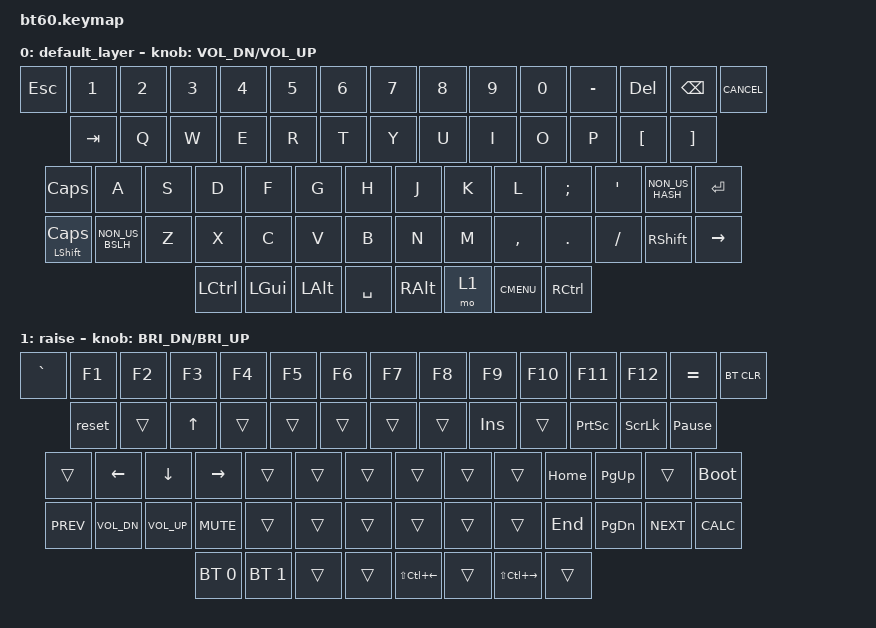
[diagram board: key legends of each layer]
#include <behaviors.dtsi>
#include <dt-bindings/zmk/keys.h>
#include <dt-bindings/zmk/bt.h>

/ {
	behaviors {
		hm: homerow_mods {
			compatible = "zmk,behavior-hold-tap";
			label = "HOMEROW_MODS";
			#binding-cells = <2>;
			tapping-term-ms = <150>;
			quick_tap_ms = <0>;
			flavor = "tap-preferred";
			bindings = <&kp>, <&kp>;
		};
	};
	
	keymap {
		compatible = "zmk,keymap";

		default_layer {
				// ------------------------------------------------------------------------------------------
				// | ESC |  1  |  2  |  3  |  4  |  5  |  6  |  7  |  8  |  9  |  0  |  -  |  =  |   BKSP   |
				// | TAB  |  Q  |  W  |  E  |  R  |  T  |  Y  |  U  |  I  |  O  |  P  |  [  |  ]  |         |
				// | CAPS  |  A  |  S  |  D  |  F  |  G  |  H  |  J  |  K  |  L  |  ;  |  '  |  #   | ENTER |
				// |  SHIFT | |  |  Z  |  X  |  C  |  V  |  B  |  N  |  M  |  ,  |  .  | /   |     SHIFT    |
				// |  CTL  |  WIN  |  ALT  |                     SPACE        |   ALT   |  1  | MENU | CTRL |
				// ------------------------------------------------------------------------------------------
			bindings = <
				&kp ESC &kp N1 &kp N2 &kp N3 &kp N4 &kp N5 &kp N6 &kp N7 &kp  N8   &kp  N9 &kp  N0  &kp MINUS &kp DEL &kp BSPC &kp K_CANCEL
				&kp TAB  &kp Q  &kp W  &kp E  &kp R  &kp T  &kp Y  &kp U  &kp  I    &kp  O  &kp  P   &kp LBKT &kp RBKT
				&kp CLCK  &kp A  &kp S  &kp D  &kp F  &kp G  &kp H  &kp J  &kp  K    &kp  L  &kp SEMI &kp SQT  &kp NON_US_HASH  &kp RET
				&hm LSHIFT CAPSLOCK &kp NON_US_BSLH &kp Z  &kp X  &kp C  &kp V  &kp B  &kp N  &kp M  &kp COMMA &kp DOT &kp FSLH       &kp RSHFT &kp RIGHT
				&kp LCTRL &kp LGUI &kp LALT            &kp SPACE                          &kp RALT  &mo 1 &kp K_CMENU &kp RCTRL
			>;
			sensor-bindings = <&inc_dec_kp C_VOL_DN C_VOL_UP>;
		};
		raise {
			bindings = <
				&kp GRAVE &kp F1 &kp F2 &kp F3 &kp F4 &kp F5 &kp F6 &kp F7 &kp  F8   &kp  F9 &kp  F10  &kp F11 &kp F12 &kp EQUAL &bt BT_CLR
				&reset &trans &kp UP &trans &trans &trans &trans &trans &kp INS &trans &kp PSCRN &kp SLCK &kp PAUSE_BREAK
				&trans    &kp LEFT &kp DOWN &kp RIGHT &trans &trans &trans &trans &trans &trans &kp HOME  &kp PG_UP  &trans &bootloader
				&kp C_PREV &kp C_VOL_DN &kp C_VOL_UP &kp C_MUTE &trans &trans &trans &trans &trans &trans &kp END &kp PG_DN  &kp C_NEXT &kp K_CALC
				&bt BT_SEL 0 &bt BT_SEL 1  &trans              &trans                            &kp LS(LC(LEFT))   &trans   &kp LS(LC(RIGHT)) &trans
			>;
			sensor-bindings = <&inc_dec_kp C_BRI_DN C_BRI_UP>;
		};
	};
};
